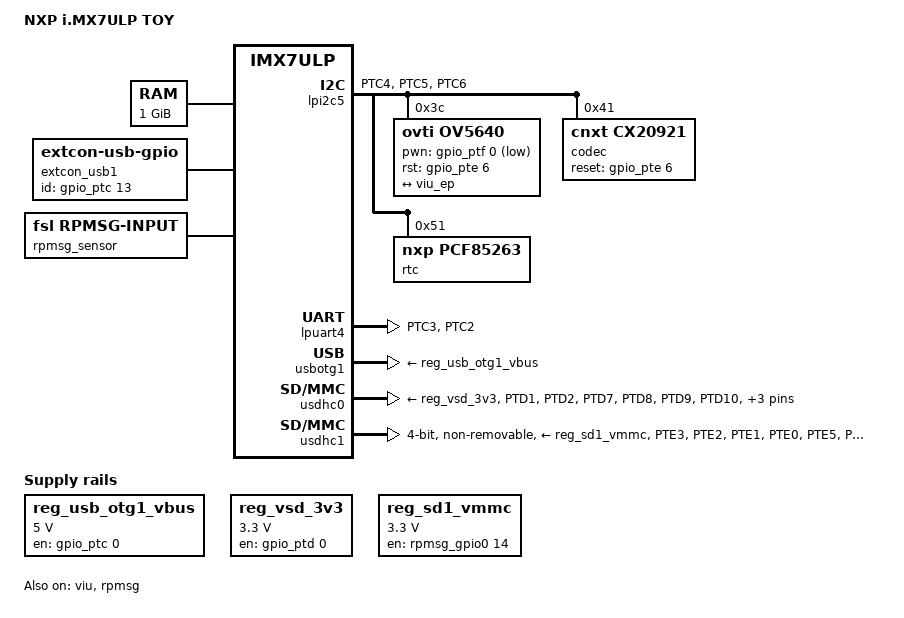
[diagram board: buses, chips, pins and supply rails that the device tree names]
/*
 * Copyright 2016 Freescale Semiconductor, Inc.
 * Copyright 2017 NXP.
 *
 * This program is free software; you can redistribute it and/or modify
 * it under the terms of the GNU General Public License version 2 as
 * published by the Free Software Foundation.
 */

/dts-v1/;

#include "imx7ulp.dtsi"
#include <dt-bindings/input/input.h>

/ {
	model = "NXP i.MX7ULP TOY";
	compatible = "fsl,imx7ulp-toy", "fsl,imx7ulp", "Generic DT based system";

	aliases {
		gpio4 = &rpmsg_gpio0;
		gpio5 = &rpmsg_gpio1;
	};

	chosen {
		stdout-path = &lpuart4;
	};

	memory {
		device_type = "memory";
		reg = <0x60000000 0x40000000>;
	};


	regulators {
		compatible = "simple-bus";
		#address-cells = <1>;
		#size-cells = <0>;

		reg_usb_otg1_vbus: regulator@0 {
			compatible = "regulator-fixed";
			reg = <0>;
			pinctrl-names = "default", "sleep";
			pinctrl-0 = <&pinctrl_usb_otg1>;
			pinctrl-1 = <&pinctrl_usb_otg1>;
			regulator-name = "usb_otg1_vbus";
			regulator-min-microvolt = <5000000>;
			regulator-max-microvolt = <5000000>;
			gpio = <&gpio_ptc 0 GPIO_ACTIVE_HIGH>;
			enable-active-high;
		};

		reg_vsd_3v3: regulator@1 {
			compatible = "regulator-fixed";
			reg = <1>;
			regulator-name = "VSD_3V3";
			regulator-min-microvolt = <3300000>;
			regulator-max-microvolt = <3300000>;
			gpio = <&gpio_ptd 0 GPIO_ACTIVE_HIGH>;
			enable-active-high;
		};

		reg_sd1_vmmc: sd1_regulator {
			compatible = "regulator-fixed";
			regulator-name = "VSD_3V3";
			regulator-min-microvolt = <3300000>;
			regulator-max-microvolt = <3300000>;
			gpio = <&rpmsg_gpio0 14 GPIO_ACTIVE_HIGH>;
			off-on-delay = <20000>;
			startup-delay-us = <100>;
			enable-active-high;
		};
	};

	extcon_usb1: extcon_usb1 {
		compatible = "linux,extcon-usb-gpio";
		id-gpio = <&gpio_ptc 13 GPIO_ACTIVE_HIGH>;
		pinctrl-names = "default", "sleep";
		pinctrl-0 = <&pinctrl_extcon_usb1>;
		pinctrl-1 = <&pinctrl_extcon_usb1>;
	};

	pf1550-rpmsg {
		compatible = "fsl,pf1550-rpmsg";
		sw1_reg: SW1 {
				regulator-name = "SW1";
				regulator-min-microvolt = <600000>;
				regulator-max-microvolt = <1387500>;
				regulator-boot-on;
				regulator-always-on;
		};

		sw2_reg: SW2 {
				regulator-name = "SW2";
				regulator-min-microvolt = <600000>;
				regulator-max-microvolt = <1387500>;
				regulator-boot-on;
				regulator-always-on;
		};

		sw3_reg: SW3 {
				regulator-name = "SW3";
				regulator-min-microvolt = <1800000>;
				regulator-max-microvolt = <3300000>;
				regulator-boot-on;
				regulator-always-on;
		};

		vref_reg: VREFDDR {
				regulator-name = "VREFDDR";
				regulator-min-microvolt = <1200000>;
				regulator-max-microvolt = <1200000>;
				regulator-boot-on;
				regulator-always-on;
		};

		vldo1_reg: LDO1 {
				regulator-name = "LDO1";
				regulator-min-microvolt = <750000>;
				regulator-max-microvolt = <3300000>;
				regulator-always-on;
		};

		vldo2_reg: LDO2 {
				regulator-name = "LDO2";
				regulator-min-microvolt = <1800000>;
				regulator-max-microvolt = <3300000>;
				regulator-always-on;
		};

		vldo3_reg: LDO3 {
				regulator-name = "LDO3";
				regulator-min-microvolt = <750000>;
				regulator-max-microvolt = <3300000>;
				regulator-always-on;
		};
	};

	pf1550-charger-rpmsg {
		compatible = "fsl,pf1550-charger-rpmsg";
		status = "okay";
	};

	rpmsg_i2s: rpmsg-i2s {
		compatible = "fsl,imx7ulp-rpmsg-i2s";
		/* the audio device index in m4 domain */
		fsl,audioindex = <0> ;
		status = "okay";
	};

	rpmsg_gpio0: rpmsg-gpio0 {
		compatible = "fsl,imx-rpmsg-gpio";
		port_idx = <0>;
		gpio-controller;
		#gpio-cells = <2>;
		#interrupt-cells = <2>;
		interrupt-controller;
		interrupt-parent = <&rpmsg_gpio0>;
		status = "okay";
	};

	rpmsg_gpio1: rpmsg-gpio1 {
		compatible = "fsl,imx-rpmsg-gpio";
		port_idx = <1>;
		gpio-controller;
		#gpio-cells = <2>;
		#interrupt-cells = <2>;
		interrupt-controller;
		interrupt-parent = <&rpmsg_gpio1>;
		status = "okay";
	};

	rpmsg_keys: rpmsg-keys {
		compatible = "fsl,rpmsg-keys";

		power-on {
			label = "PowerOn";
			linux,code = <KEY_POWER>;
			rpmsg-key,wakeup;
		};
	};

	rpmsg_sensor: rpmsg-sensor {
		compatible = "fsl,rpmsg-input";
	};

	sound-rpmsg {
		compatible = "fsl,imx-audio-rpmsg";
		model = "rpmsg-audio";
		cpu-dai = <&rpmsg_i2s>;
	};
};

&cpu0 {
	arm-supply= <&sw1_reg>;
};

&iomuxc1 {
	pinctrl-names = "default";
	pinctrl-0 = <&pinctrl_hog_1>;

	imx7ulp-toy {
		pinctrl_hog_1: hoggrp-1 {
			fsl,pins = <
				IMX7ULP_PAD_PTC1__PTC1		0x20000
			>;
		};

		pinctrl_pwm_led: pwm_led_grp {
			fsl,pins = <
				IMX7ULP_PAD_PTC15__TPM7_CH1	0x3
			>;
		};

		pinctrl_lpi2c5: lpi2c5grp {
			fsl,pins = <
				IMX7ULP_PAD_PTC4__LPI2C5_SCL		0x27
				IMX7ULP_PAD_PTC5__LPI2C5_SDA		0x27
				IMX7ULP_PAD_PTC6__LPI2C5_HREQ		0x27
			>;
		};

		pinctrl_lpuart4: lpuart4grp {
			fsl,pins = <
				IMX7ULP_PAD_PTC3__LPUART4_RX	0x3
				IMX7ULP_PAD_PTC2__LPUART4_TX	0x3
			>;
		};

		pinctrl_lpuart7: lpuart7grp {
			fsl,pins = <
				IMX7ULP_PAD_PTF14__LPUART7_TX		0x3
				IMX7ULP_PAD_PTF15__LPUART7_RX		0x3
			>;
		};

		pinctrl_usdhc0: usdhc0grp {
			fsl,pins = <
				IMX7ULP_PAD_PTD1__SDHC0_CMD	0x43
				IMX7ULP_PAD_PTD2__SDHC0_CLK	0x10042
				IMX7ULP_PAD_PTD7__SDHC0_D3	0x43
				IMX7ULP_PAD_PTD8__SDHC0_D2	0x43
				IMX7ULP_PAD_PTD9__SDHC0_D1	0x43
				IMX7ULP_PAD_PTD10__SDHC0_D0	0x43
				IMX7ULP_PAD_PTC10__PTC10	0x10000		/* USDHC0 CD */
				IMX7ULP_PAD_PTD0__PTD0		0x20000		/* USDHC0 RST */
			>;
		};

		pinctrl_usdhc0_8bit: usdhc0grp_8bit {
			fsl,pins = <
				IMX7ULP_PAD_PTD1__SDHC0_CMD	0x43
				IMX7ULP_PAD_PTD2__SDHC0_CLK	0x10042
				IMX7ULP_PAD_PTD3__SDHC0_D7	0x43
				IMX7ULP_PAD_PTD4__SDHC0_D6	0x43
				IMX7ULP_PAD_PTD5__SDHC0_D5	0x43
				IMX7ULP_PAD_PTD6__SDHC0_D4	0x43
				IMX7ULP_PAD_PTD7__SDHC0_D3	0x43
				IMX7ULP_PAD_PTD8__SDHC0_D2	0x43
				IMX7ULP_PAD_PTD9__SDHC0_D1	0x43
				IMX7ULP_PAD_PTD10__SDHC0_D0	0x43
				IMX7ULP_PAD_PTD11__SDHC0_DQS	0x42
			>;
		};

		pinctrl_lpspi3: lpspi3grp {
			fsl,pins = <
				IMX7ULP_PAD_PTF16__LPSPI3_SIN      0x0
				IMX7ULP_PAD_PTF17__LPSPI3_SOUT     0x0
				IMX7ULP_PAD_PTF18__LPSPI3_SCK      0x0
				IMX7ULP_PAD_PTF19__LPSPI3_PCS0     0x0
			>;
		};

		pinctrl_usb_otg1: usbotg1grp {
			fsl,pins = <
				IMX7ULP_PAD_PTC0__PTC0		0x20000
			>;
		};

		pinctrl_extcon_usb1: extcon1grp {
			fsl,pins = <
				IMX7ULP_PAD_PTC13__PTC13	0x10003
			>;
		};

		pinctrl_camera: camera_grp {
			fsl,pins = <
				IMX7ULP_PAD_PTF0__PTF0		0x20043  /*CAMERA ENABLE*/
				IMX7ULP_PAD_PTE6__PTE6		0x20043  /*CAMERA RESET */
				IMX7ULP_PAD_PTF3__VIU_PCLK	0x10043  /*CAMEAR PCLK  */
				IMX7ULP_PAD_PTF6__VIU_D2	0x43
				IMX7ULP_PAD_PTF7__VIU_D3	0x43
				IMX7ULP_PAD_PTF8__VIU_D4	0x43
				IMX7ULP_PAD_PTF9__VIU_D5	0x43
				IMX7ULP_PAD_PTF10__VIU_D6	0x43
				IMX7ULP_PAD_PTF11__VIU_D7	0x43
				IMX7ULP_PAD_PTF12__VIU_D8	0x43
				IMX7ULP_PAD_PTF13__VIU_D9	0x43
			>;
		};

		pinctrl_usdhc1: usdhc1grp {
			fsl,pins = <
				IMX7ULP_PAD_PTE3__SDHC1_CMD		0x43
				IMX7ULP_PAD_PTE2__SDHC1_CLK		0x43
				IMX7ULP_PAD_PTE1__SDHC1_D0		0x43
				IMX7ULP_PAD_PTE0__SDHC1_D1		0x43
				IMX7ULP_PAD_PTE5__SDHC1_D2		0x43
				IMX7ULP_PAD_PTE4__SDHC1_D3		0x43
			>;
		};

		pinctrl_usdhc1_rst: usdhc1grp_rst {
			fsl,pins = <
				IMX7ULP_PAD_PTE11__PTE11		0x20000		/* USDHC1 RST */
				IMX7ULP_PAD_PTE13__PTE13		0x10003		/* USDHC1 CD */
				IMX7ULP_PAD_PTE12__PTE12		0x10003		/* USDHC1 WP */
				IMX7ULP_PAD_PTE14__SDHC1_VS		0x43		/* USDHC1 VSEL */
			>;
		};

	};
};

&lpi2c5 {
	#address-cells = <1>;
	#size-cells = <0>;
	pinctrl-names = "default", "sleep";
	pinctrl-0 = <&pinctrl_lpi2c5>;
	pinctrl-1 = <&pinctrl_lpi2c5>;
	status = "okay";

	ov5640: ov5640@3c {
		compatible = "ovti,ov5640";
		reg = <0x3c>;
		pinctrl-names = "default";
		pinctrl-0 = <&pinctrl_camera>;
		clocks = <&clks IMX7ULP_CLK_DUMMY>;
		clock-names = "csi_mclk";
		pwn-gpios = <&gpio_ptf 0 GPIO_ACTIVE_LOW>;
		rst-gpios = <&gpio_pte 6 GPIO_ACTIVE_HIGH>;
		csi_id = <0>;
		mclk = <24000000>;
		mclk_source = <0>;
		status = "okay";

		port {
			ov5640_ep: endpoint {
				remote-endpoint = <&viu_ep>;
			};
		};
	};

	codec: cx20921@41 {
		compatible = "cnxt,cx20921";
		reg = <0x41>;
		reset-gpios = <&gpio_pte 6 0>;
	};

	rtc: pcf85263@51 {
		compatible = "nxp,pcf85263";
		reg = <0x51>;
	};
};

&viu {
	status = "okay";

	port {
		viu_ep: endpoint {
			remote-endpoint = <&ov5640_ep>;
		};
	};
};

&lpuart4 { /* console */
	pinctrl-names = "default", "sleep";
	pinctrl-0 = <&pinctrl_lpuart4>;
	pinctrl-1 = <&pinctrl_lpuart4>;
	status = "okay";
};

&lpuart7 { /* BLE uart */
	pinctrl-names = "default", "sleep";
	pinctrl-0 = <&pinctrl_lpuart7>;
	pinctrl-1 = <&pinctrl_lpuart7>;
	status = "disabled";
};


&rpmsg{
	/*
	 * 64K for one rpmsg instance, default using 2 rpmsg instances:
	 * --0x9FF00000~0x9FF0FFFF: pmic,pm,audio,keys,gpio,sensor
	 * --0x9FF10000~0x9FF1FFFF: pingpong,virtual tty
	 */
	vdev-nums = <2>;
	reg = <0x9FF00000 0x20000>;
	status = "okay";
};

&usbotg1 {
	vbus-supply = <&reg_usb_otg1_vbus>;
	extcon = <0>, <&extcon_usb1>;
	srp-disable;
	hnp-disable;
	adp-disable;
	status = "okay";
};

&usbphy1 {
	tx-d-cal = <0xc>;
};

&usdhc0 {
	pinctrl-names = "default", "state_100mhz", "state_200mhz", "sleep";
	pinctrl-0 = <&pinctrl_usdhc0>;
	pinctrl-1 = <&pinctrl_usdhc0>;
	pinctrl-2 = <&pinctrl_usdhc0>;
	pinctrl-3 = <&pinctrl_usdhc0>;
	cd-gpios = <&gpio_ptc 10 GPIO_ACTIVE_LOW>;
	vmmc-supply = <&reg_vsd_3v3>;
	vqmmc-supply = <&vldo2_reg>;
	status = "okay";
};

&usdhc1 {
	pinctrl-names = "default", "sleep";
	pinctrl-0 = <&pinctrl_usdhc1>;
	pinctrl-1 = <&pinctrl_usdhc1>;
	bus-width = <4>;
	vmmc-supply = <&reg_sd1_vmmc>;
	pm-ignore-notify;
	keep-power-in-suspend;
	non-removable;
	status = "okay";
};
